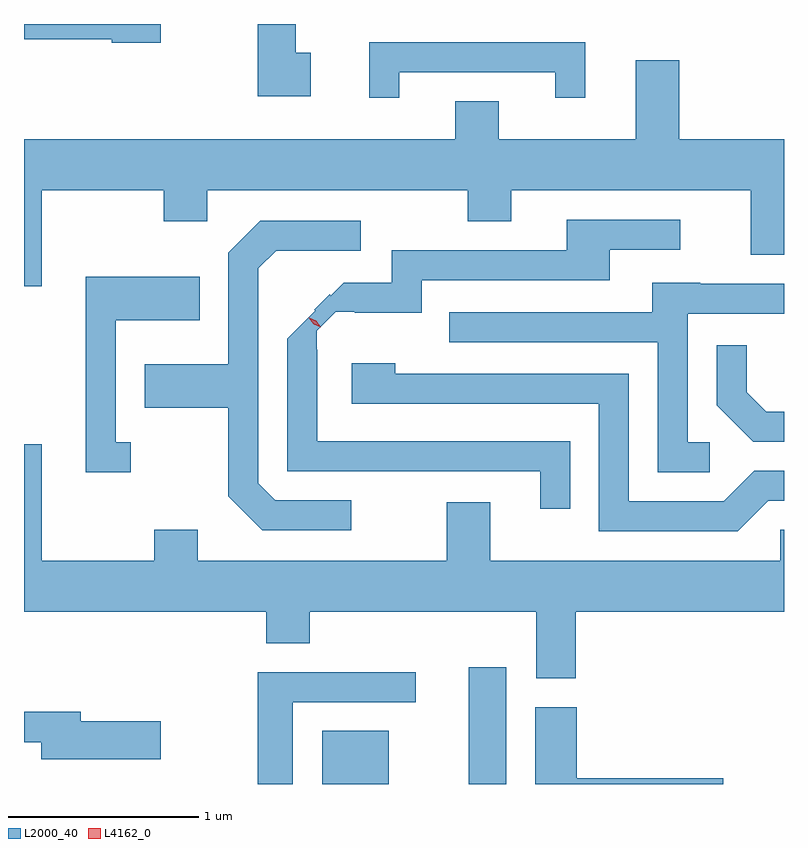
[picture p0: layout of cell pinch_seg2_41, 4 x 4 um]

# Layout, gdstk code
import gdstk
lib = gdstk.Library(unit=1e-6, precision=1e-09)
def R(c, l, rs):  # rectangles x0, y0, x1, y1
    for r in rs: c.add(gdstk.rectangle(r[:2], r[2:], *l))
def P(c, l, *ps):  # polygons
    for p in ps: c.add(gdstk.Polygon(p, *l))
L2000_40 = (2000, 40)
L4162_0 = (4162, 0)

pinch_seg2_41 = lib.new_cell('pinch_seg2_41')
R(pinch_seg2_41, L2000_40, [(1100.676,1100.69,1101.024,1100.969), (1101.446,1100.69,1101.644,1101.304)])
P(pinch_seg2_41, L2000_40, [(1099.824,1104.69),(1099.105,1104.69),(1099.105,1104.611),(1099.566,1104.611),(1099.566,1104.591),(1099.824,1104.591)],
  [(1100.614,1104.539),(1100.534,1104.539),(1100.534,1104.69),(1100.336,1104.69),(1100.336,1104.311),(1100.614,1104.311)],
  [(1101.079,1104.436),(1101.901,1104.436),(1101.901,1104.303),(1102.059,1104.303),(1102.059,1104.594),(1100.921,1104.594),(1100.921,1104.303),(1101.079,1104.303)],
  [(1099.199,1103.816),(1099.841,1103.816),(1099.841,1103.651),(1100.069,1103.651),(1100.069,1103.816),(1101.441,1103.816),(1101.441,1103.651),(1101.669,1103.651),(1101.669,1103.816),(1102.931,1103.816),(1102.931,1103.476),(1103.105,1103.476),(1103.105,1104.084),(1102.554,1104.084),(1102.554,1104.499),(1102.326,1104.499),(1102.326,1104.084),(1101.604,1104.084),(1101.604,1104.284),(1101.376,1104.284),(1101.376,1104.084),(1099.105,1104.084),(1099.105,1103.311),(1099.199,1103.311)],
  [(1101.979,1102.494),(1100.649,1102.494),(1100.649,1102.975),(1100.645,1102.975),(1100.645,1103.075),(1100.745,1103.175),(1100.845,1103.175),(1100.845,1103.171),(1101.199,1103.171),(1101.199,1103.341),(1102.189,1103.341),(1102.189,1103.501),(1102.558,1103.501),(1102.558,1103.659),(1101.961,1103.659),(1101.961,1103.499),(1101.041,1103.499),(1101.041,1103.329),(1100.788,1103.329),(1100.719,1103.26),(1100.713,1103.267),(1100.633,1103.187),(1100.639,1103.182),(1100.491,1103.034),(1100.491,1102.336),(1101.821,1102.336),(1101.821,1102.138),(1101.979,1102.138)],
  [(1100.828,1102.184),(1100.427,1102.184),(1100.339,1102.272),(1100.339,1103.404),(1100.432,1103.496),(1100.878,1103.496),(1100.878,1103.654),(1100.349,1103.654),(1100.181,1103.487),(1100.181,1102.899),(1099.741,1102.899),(1099.741,1102.671),(1100.181,1102.671),(1100.181,1102.204),(1100.359,1102.026),(1100.828,1102.026)],
  [(1099.668,1102.489),(1099.589,1102.489),(1099.589,1103.131),(1100.029,1103.131),(1100.029,1103.359),(1099.431,1103.359),(1099.431,1102.331),(1099.668,1102.331)],
  [(1102.713,1102.489),(1102.599,1102.489),(1102.599,1103.166),(1103.105,1103.166),(1103.105,1103.324),(1102.665,1103.324),(1102.665,1103.329),(1102.411,1103.329),(1102.411,1103.174),(1101.343,1103.174),(1101.343,1103.016),(1102.441,1103.016),(1102.441,1102.331),(1102.713,1102.331)],
  [(1103.105,1102.649),(1103.012,1102.649),(1102.909,1102.752),(1102.909,1102.998),(1102.751,1102.998),(1102.751,1102.684),(1102.944,1102.491),(1103.105,1102.491)],
  [(1103.022,1102.181),(1103.105,1102.181),(1103.105,1102.339),(1102.949,1102.339),(1102.789,1102.179),(1102.289,1102.179),(1102.289,1102.849),(1101.059,1102.849),(1101.059,1102.904),(1100.831,1102.904),(1100.831,1102.691),(1102.131,1102.691),(1102.131,1102.021),(1102.862,1102.021)],
  [(1102.009,1101.596),(1103.105,1101.596),(1103.105,1102.029),(1103.086,1102.029),(1103.086,1101.864),(1101.559,1101.864),(1101.559,1102.174),(1101.331,1102.174),(1101.331,1101.864),(1100.019,1101.864),(1100.019,1102.029),(1099.791,1102.029),(1099.791,1101.864),(1099.199,1101.864),(1099.199,1102.479),(1099.105,1102.479),(1099.105,1101.596),(1100.381,1101.596),(1100.381,1101.431),(1100.609,1101.431),(1100.609,1101.596),(1101.801,1101.596),(1101.801,1101.246),(1102.009,1101.246)],
  [(1100.519,1101.121),(1101.168,1101.121),(1101.168,1101.279),(1100.336,1101.279),(1100.336,1100.69),(1100.519,1100.69)],
  [(1102.784,1100.719),(1102.014,1100.719),(1102.014,1101.094),(1101.796,1101.094),(1101.796,1100.69),(1102.784,1100.69)],
  [(1099.824,1101.019),(1099.404,1101.019),(1099.404,1101.069),(1099.105,1101.069),(1099.105,1100.911),(1099.196,1100.911),(1099.196,1100.821),(1099.824,1100.821)])
P(pinch_seg2_41, L4162_0, [(1100.666,1103.094),(1100.629,1103.111),(1100.604,1103.143),(1100.604,1103.144),(1100.605,1103.144),(1100.642,1103.127),(1100.666,1103.095),(1100.666,1103.094)],
  [(1100.66,1103.098),(1100.629,1103.111),(1100.61,1103.138),(1100.61,1103.139),(1100.61,1103.139),(1100.641,1103.126),(1100.661,1103.099),(1100.661,1103.098)])

lib.write_gds('pinch_seg2_41.gds')
